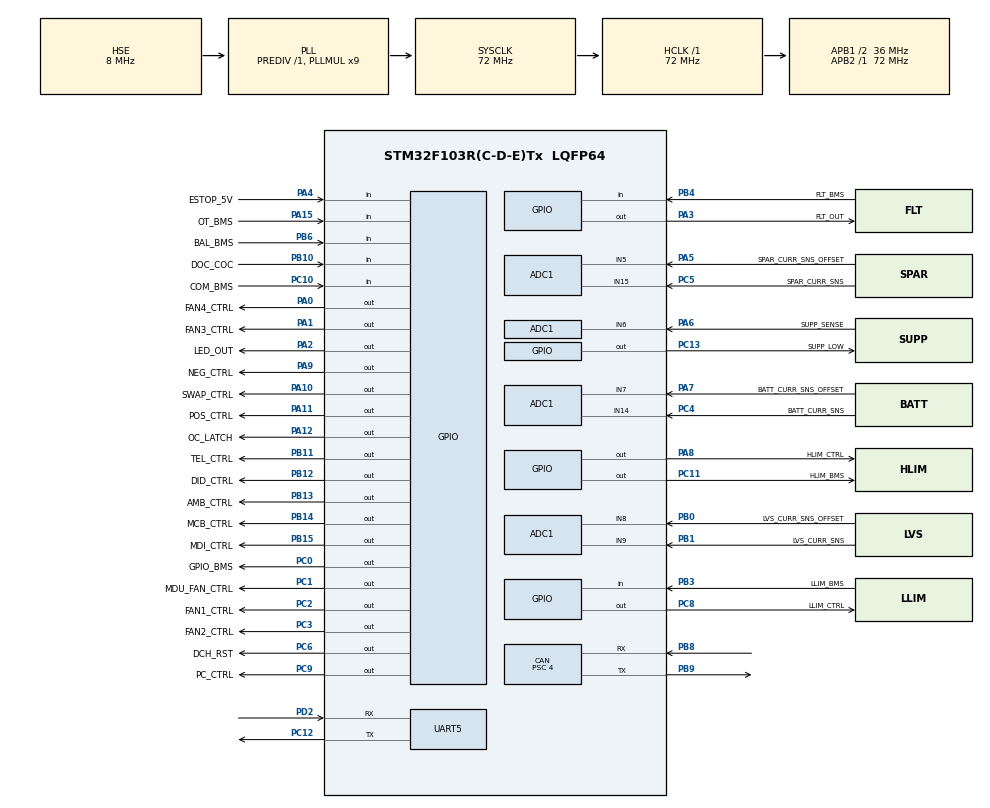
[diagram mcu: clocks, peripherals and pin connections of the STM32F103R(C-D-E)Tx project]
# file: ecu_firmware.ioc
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ADC1.AWD1HighThreshold=2710
ADC1.AWD1ITMode=ENABLE
ADC1.AWD1LowThreshold=2071
ADC1.Channel-0\#ChannelRegularConversion=ADC_CHANNEL_5
ADC1.Channel-1\#ChannelRegularConversion=ADC_CHANNEL_6
ADC1.Channel-2\#ChannelRegularConversion=ADC_CHANNEL_7
ADC1.Channel-3\#ChannelRegularConversion=ADC_CHANNEL_8
ADC1.Channel-4\#ChannelRegularConversion=ADC_CHANNEL_9
ADC1.Channel-5\#ChannelRegularConversion=ADC_CHANNEL_14
ADC1.Channel-6\#ChannelRegularConversion=ADC_CHANNEL_15
ADC1.ContinuousConvMode=DISABLE
ADC1.EnableAnalogWatchDog=true
ADC1.EnableInjectedConversion=DISABLE
ADC1.ExternalTrigConv=ADC_EXTERNALTRIGCONV_T3_TRGO
ADC1.NbrOfConversion=7
ADC1.NbrOfConversionFlag=1
ADC1.Rank-0\#ChannelRegularConversion=1
ADC1.Rank-1\#ChannelRegularConversion=2
ADC1.Rank-2\#ChannelRegularConversion=3
ADC1.Rank-3\#ChannelRegularConversion=4
ADC1.Rank-4\#ChannelRegularConversion=5
ADC1.Rank-5\#ChannelRegularConversion=6
ADC1.Rank-6\#ChannelRegularConversion=7
ADC1.SamplingTime-0\#ChannelRegularConversion=ADC_SAMPLETIME_1CYCLE_5
ADC1.SamplingTime-1\#ChannelRegularConversion=ADC_SAMPLETIME_1CYCLE_5
ADC1.SamplingTime-2\#ChannelRegularConversion=ADC_SAMPLETIME_1CYCLE_5
ADC1.SamplingTime-3\#ChannelRegularConversion=ADC_SAMPLETIME_1CYCLE_5
ADC1.SamplingTime-4\#ChannelRegularConversion=ADC_SAMPLETIME_1CYCLE_5
ADC1.SamplingTime-5\#ChannelRegularConversion=ADC_SAMPLETIME_1CYCLE_5
ADC1.SamplingTime-6\#ChannelRegularConversion=ADC_SAMPLETIME_1CYCLE_5
ADC1.WatchdogChannel=ADC_CHANNEL_14
ADC1.master=1
CAN.BS1=CAN_BS1_15TQ
CAN.BS2=CAN_BS2_2TQ
CAN.CalculateBaudRate=500000
CAN.CalculateTimeBit=2000
CAN.CalculateTimeQuantum=111.11111111111111
CAN.Prescaler=4
Dma.ADC1.0.Direction=DMA_PERIPH_TO_MEMORY
Dma.ADC1.0.Instance=DMA1_Channel1
Dma.ADC1.0.MemDataAlignment=DMA_MDATAALIGN_HALFWORD
Dma.ADC1.0.MemInc=DMA_MINC_ENABLE
Dma.ADC1.0.Mode=DMA_CIRCULAR
Dma.ADC1.0.PeriphDataAlignment=DMA_PDATAALIGN_HALFWORD
Dma.ADC1.0.PeriphInc=DMA_PINC_DISABLE
Dma.ADC1.0.Priority=DMA_PRIORITY_LOW
Dma.Request0=ADC1
IWDG.Prescaler=IWDG_PRESCALER_8
IWDG.Reload=750
Mcu.Family=STM32F1
Mcu.Name=STM32F103R(C-D-E)Tx
Mcu.Package=LQFP64
NVIC.ADC1_2_IRQn=true\:0\:0\:false\:false\:true\:true\:true\:true
NVIC.DMA1_Channel1_IRQn=true\:0\:0\:false\:false\:true\:false\:true\:true
NVIC.PriorityGroup=NVIC_PRIORITYGROUP_4
NVIC.TIM3_IRQn=true\:0\:0\:false\:false\:true\:true\:true\:true
NVIC.USB_HP_CAN1_TX_IRQn=true\:0\:0\:false\:false\:true\:true\:true\:true
NVIC.USB_LP_CAN1_RX0_IRQn=true\:0\:0\:false\:false\:true\:true\:true\:true
PA0-WKUP.GPIO_Label=FAN4_CTRL
PA0-WKUP.Signal=GPIO_Output
PA1.GPIO_Label=FAN3_CTRL
PA1.Signal=GPIO_Output
PA10.GPIO_Label=SWAP_CTRL
PA10.Signal=GPIO_Output
PA11.GPIO_Label=POS_CTRL
PA11.Signal=GPIO_Output
PA12.GPIO_Label=OC_LATCH
PA12.Signal=GPIO_Output
PA13.Mode=Serial_Wire
PA13.Signal=SYS_JTMS-SWDIO
PA14.Mode=Serial_Wire
PA14.Signal=SYS_JTCK-SWCLK
PA15.GPIO_Label=OT_BMS
PA15.Signal=GPIO_Input
PA2.GPIO_Label=LED_OUT
PA2.Signal=GPIO_Output
PA3.GPIO_Label=FLT_OUT
PA3.Signal=GPIO_Output
PA4.GPIO_Label=ESTOP_5V
PA4.Signal=GPIO_Input
PA5.GPIO_Label=SPAR_CURR_SNS_OFFSET
PA5.Signal=ADCx_IN5
PA6.GPIO_Label=SUPP_SENSE
PA6.Signal=ADCx_IN6
PA7.GPIO_Label=BATT_CURR_SNS_OFFSET
PA7.Signal=ADCx_IN7
PA8.GPIO_Label=HLIM_CTRL
PA8.Signal=GPIO_Output
PA9.GPIO_Label=NEG_CTRL
PA9.Signal=GPIO_Output
PB0.GPIO_Label=LVS_CURR_SNS_OFFSET
PB0.Signal=ADCx_IN8
PB1.GPIO_Label=LVS_CURR_SNS
PB1.Signal=ADCx_IN9
PB10.GPIO_Label=DOC_COC
PB10.Signal=GPIO_Input
PB11.GPIO_Label=TEL_CTRL
PB11.Signal=GPIO_Output
PB12.GPIO_Label=DID_CTRL
PB12.Signal=GPIO_Output
PB13.GPIO_Label=AMB_CTRL
PB13.Signal=GPIO_Output
PB14.GPIO_Label=MCB_CTRL
PB14.Signal=GPIO_Output
PB15.GPIO_Label=MDI_CTRL
PB15.Signal=GPIO_Output
PB3.GPIO_Label=LLIM_BMS
PB3.Signal=GPIO_Input
PB4.GPIO_Label=FLT_BMS
PB4.Signal=GPIO_Input
PB6.GPIO_Label=BAL_BMS
PB6.Signal=GPIO_Input
PB8.Mode=CAN_Activate
PB8.Signal=CAN_RX
PB9.Mode=CAN_Activate
PB9.Signal=CAN_TX
PC0.GPIO_Label=GPIO_BMS
PC0.Signal=GPIO_Output
PC1.GPIO_Label=MDU_FAN_CTRL
PC1.Signal=GPIO_Output
PC10.GPIO_Label=COM_BMS
PC10.Signal=GPIO_Input
PC11.GPIO_Label=HLIM_BMS
PC11.Signal=GPIO_Output
PC12.Mode=Asynchronous
PC12.Signal=UART5_TX
PC13-TAMPER-RTC.GPIO_Label=SUPP_LOW
PC13-TAMPER-RTC.Signal=GPIO_Output
PC2.GPIO_Label=FAN1_CTRL
PC2.Signal=GPIO_Output
PC3.GPIO_Label=FAN2_CTRL
PC3.Signal=GPIO_Output
PC4.GPIO_Label=BATT_CURR_SNS
PC4.Signal=ADCx_IN14
PC5.GPIO_Label=SPAR_CURR_SNS
PC5.Signal=ADCx_IN15
PC6.GPIO_Label=DCH_RST
PC6.Signal=GPIO_Output
PC8.GPIO_Label=LLIM_CTRL
PC8.Signal=GPIO_Output
PC9.GPIO_Label=PC_CTRL
PC9.Signal=GPIO_Output
PD0-OSC_IN.Mode=HSE-External-Oscillator
PD0-OSC_IN.Signal=RCC_OSC_IN
PD1-OSC_OUT.Mode=HSE-External-Oscillator
PD1-OSC_OUT.Signal=RCC_OSC_OUT
PD2.Mode=Asynchronous
PD2.Signal=UART5_RX
ProjectManager.HeapSize=0x200
ProjectManager.StackSize=0x400
ProjectManager.TargetToolchain=STM32CubeIDE
RCC.ADCPresc=RCC_ADCPCLK2_DIV6
RCC.AHBFreq_Value=72000000
RCC.APB1CLKDivider=RCC_HCLK_DIV2
RCC.APB1Freq_Value=36000000
RCC.APB1TimFreq_Value=72000000
RCC.APB2Freq_Value=72000000
RCC.APB2TimFreq_Value=72000000
RCC.HCLKFreq_Value=72000000
RCC.PLLMUL=RCC_PLL_MUL9
RCC.PLLSourceVirtual=RCC_PLLSOURCE_HSE
RCC.SYSCLKFreq_VALUE=72000000
RCC.SYSCLKSource=RCC_SYSCLKSOURCE_PLLCLK
RCC.USBFreq_Value=72000000
SH.ADCx_IN14.0=ADC1_IN14,IN14
SH.ADCx_IN15.0=ADC1_IN15,IN15
SH.ADCx_IN5.0=ADC1_IN5,IN5
SH.ADCx_IN6.0=ADC1_IN6,IN6
SH.ADCx_IN7.0=ADC1_IN7,IN7
SH.ADCx_IN8.0=ADC1_IN8,IN8
SH.ADCx_IN9.0=ADC1_IN9,IN9
TIM3.CounterMode=TIM_COUNTERMODE_UP
TIM3.Period=1
TIM3.Prescaler=16000-1
TIM3.TIM_MasterOutputTrigger=TIM_TRGO_UPDATE
UART5.VirtualMode=Asynchronous
VP_IWDG_VS_IWDG.Mode=IWDG_Activate
VP_TIM3_VS_ClockSourceINT.Mode=Internal
VP_TIM8_VS_ClockSourceINT.Mode=Internal
board=custom

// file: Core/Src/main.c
/* USER CODE BEGIN Header */
/**
 ******************************************************************************
 * @file           : main.c
 * @brief          : Main program body
 ******************************************************************************
 * @attention
 *
 * <h2><center>&copy; Copyright (c) 2020 STMicroelectronics.
 * All rights reserved.</center></h2>
 *
 * This software component is licensed by ST under BSD 3-Clause license,
 * the "License"; You may not use this file except in compliance with the
 * License. You may obtain a copy of the License at:
 *                        opensource.org/licenses/BSD-3-Clause
 *
 ******************************************************************************
 */
/* USER CODE END Header */
#include "main.h"

/* USER CODE BEGIN Includes */
#include "fsm.h"
#include "adc.h"
#include "debug_io.h"
#include "common.h"
#include "can.h"
/* USER CODE END Includes */

ADC_HandleTypeDef hadc1;
DMA_HandleTypeDef hdma_adc1;
CAN_HandleTypeDef hcan;
IWDG_HandleTypeDef hiwdg;
TIM_HandleTypeDef htim3;
TIM_HandleTypeDef htim8;

UART_HandleTypeDef huart5;

/* USER CODE BEGIN PV */
volatile uint16_t adc1_buf[ADC1_BUF_LENGTH] = {0};
ECU_Data_t ecu_data = {0};
/* USER CODE END PV */

void SystemClock_Config(void);
static void MX_GPIO_Init(void);
static void MX_DMA_Init(void);
static void MX_ADC1_Init(void);
static void MX_CAN_Init(void);
static void MX_UART5_Init(void);
static void MX_TIM8_Init(void);
static void MX_TIM3_Init(void);
static void MX_IWDG_Init(void);

/* USER CODE BEGIN 0 */

/*============================================================================*/
/* ADC INTERRUPT CALLBACKS */
void HAL_ADC_LevelOutOfWindowCallback(ADC_HandleTypeDef *hadc)
{
  FSM_ADC_LevelOutOfWindowCallback();
}

/* USER CODE END 0 */

int main(void)
{

  /* MCU Configuration--------------------------------------------------------*/

  /* Reset of all peripherals, Initializes the Flash interface and the Systick. */
  HAL_Init();

  /* Configure the system clock */
  SystemClock_Config();

  /* USER CODE BEGIN SysInit */

  HAL_Delay(100); // add delay to allow current sensor power supply to stabilize

  /* USER CODE END SysInit */

  /* Initialize all configured peripherals */
  MX_GPIO_Init();
  MX_DMA_Init();
  MX_ADC1_Init();
  MX_CAN_Init();
  MX_UART5_Init();
  MX_TIM8_Init();
  MX_TIM3_Init();
  MX_IWDG_Init();
  /* USER CODE BEGIN 2 */

  DebugIO_Init(&huart5);

  CAN_Init(&hcan);

  HAL_ADC_Start_DMA(&hadc1, (uint32_t *)adc1_buf, ADC1_BUF_LENGTH);
  HAL_TIM_Base_Start(&htim3);

  FSM_Init();

  HAL_GetTick();
  int last_blink_time = 0;
  int current_time = 0;

  /* USER CODE END 2 */

  /* Infinite loop */
  /* USER CODE BEGIN WHILE */

  while (1)
  {

    FSM_run();

    HAL_IWDG_Refresh (&hiwdg);//Programmed in IOC to have refreshed in 450ms due to possible CAN message delays.
	  	  	  	  	  	  	  	 //if not refreshed, board will be sent to watchdog error handler and board will be reset.

    /* USER CODE END WHILE */

    /* USER CODE BEGIN 3 */

    current_time = HAL_GetTick();

    if (current_time - last_blink_time >= 500)
    {
      HAL_GPIO_TogglePin(LED_OUT_GPIO_Port, LED_OUT_Pin);

      last_blink_time = current_time;
    }
  }

  /* USER CODE END 3 */
}

void SystemClock_Config(void)
{
  RCC_OscInitTypeDef RCC_OscInitStruct = {0};
  RCC_ClkInitTypeDef RCC_ClkInitStruct = {0};
  RCC_PeriphCLKInitTypeDef PeriphClkInit = {0};

  /** Initializes the RCC Oscillators according to the specified parameters
  * in the RCC_OscInitTypeDef structure.
  */
  RCC_OscInitStruct.OscillatorType = RCC_OSCILLATORTYPE_LSI|RCC_OSCILLATORTYPE_HSE;
  RCC_OscInitStruct.HSEState = RCC_HSE_ON;
  RCC_OscInitStruct.HSEPredivValue = RCC_HSE_PREDIV_DIV1;
  RCC_OscInitStruct.HSIState = RCC_HSI_ON;
  RCC_OscInitStruct.LSIState = RCC_LSI_ON;
  RCC_OscInitStruct.PLL.PLLState = RCC_PLL_ON;
  RCC_OscInitStruct.PLL.PLLSource = RCC_PLLSOURCE_HSE;
  RCC_OscInitStruct.PLL.PLLMUL = RCC_PLL_MUL9;
  if (HAL_RCC_OscConfig(&RCC_OscInitStruct) != HAL_OK)
  {
    Error_Handler();
  }

  /** Initializes the CPU, AHB and APB buses clocks
  */
  RCC_ClkInitStruct.ClockType = RCC_CLOCKTYPE_HCLK|RCC_CLOCKTYPE_SYSCLK
                              |RCC_CLOCKTYPE_PCLK1|RCC_CLOCKTYPE_PCLK2;
  RCC_ClkInitStruct.SYSCLKSource = RCC_SYSCLKSOURCE_PLLCLK;
  RCC_ClkInitStruct.AHBCLKDivider = RCC_SYSCLK_DIV1;
  RCC_ClkInitStruct.APB1CLKDivider = RCC_HCLK_DIV2;
  RCC_ClkInitStruct.APB2CLKDivider = RCC_HCLK_DIV1;

  if (HAL_RCC_ClockConfig(&RCC_ClkInitStruct, FLASH_LATENCY_2) != HAL_OK)
  {
    Error_Handler();
  }
  PeriphClkInit.PeriphClockSelection = RCC_PERIPHCLK_ADC;
  PeriphClkInit.AdcClockSelection = RCC_ADCPCLK2_DIV6;
  if (HAL_RCCEx_PeriphCLKConfig(&PeriphClkInit) != HAL_OK)
  {
    Error_Handler();
  }
}

static void MX_ADC1_Init(void)
{

  ADC_AnalogWDGConfTypeDef AnalogWDGConfig = {0};
  ADC_ChannelConfTypeDef sConfig = {0};

  /** Common config
  */
  hadc1.Instance = ADC1;
  hadc1.Init.ScanConvMode = ADC_SCAN_ENABLE;
  hadc1.Init.ContinuousConvMode = DISABLE;
  hadc1.Init.DiscontinuousConvMode = DISABLE;
  hadc1.Init.ExternalTrigConv = ADC_EXTERNALTRIGCONV_T3_TRGO;
  hadc1.Init.DataAlign = ADC_DATAALIGN_RIGHT;
  hadc1.Init.NbrOfConversion = 7;
  if (HAL_ADC_Init(&hadc1) != HAL_OK)
  {
    Error_Handler();
  }

  /** Configure Analog WatchDog 1
  */
  AnalogWDGConfig.WatchdogMode = ADC_ANALOGWATCHDOG_SINGLE_REG;
  AnalogWDGConfig.HighThreshold = 2710;
  AnalogWDGConfig.LowThreshold = 2071;
  AnalogWDGConfig.Channel = ADC_CHANNEL_14;
  AnalogWDGConfig.ITMode = ENABLE;
  if (HAL_ADC_AnalogWDGConfig(&hadc1, &AnalogWDGConfig) != HAL_OK)
  {
    Error_Handler();
  }

  /** Configure Regular Channel
  */
  sConfig.Channel = ADC_CHANNEL_5;
  sConfig.Rank = ADC_REGULAR_RANK_1;
  sConfig.SamplingTime = ADC_SAMPLETIME_1CYCLE_5;
  if (HAL_ADC_ConfigChannel(&hadc1, &sConfig) != HAL_OK)
  {
    Error_Handler();
  }

  /** Configure Regular Channel
  */
  sConfig.Channel = ADC_CHANNEL_6;
  sConfig.Rank = ADC_REGULAR_RANK_2;
  if (HAL_ADC_ConfigChannel(&hadc1, &sConfig) != HAL_OK)
  {
    Error_Handler();
  }

  /** Configure Regular Channel
  */
  sConfig.Channel = ADC_CHANNEL_7;
  sConfig.Rank = ADC_REGULAR_RANK_3;
  if (HAL_ADC_ConfigChannel(&hadc1, &sConfig) != HAL_OK)
  {
    Error_Handler();
  }

  /** Configure Regular Channel
  */
  sConfig.Channel = ADC_CHANNEL_8;
  sConfig.Rank = ADC_REGULAR_RANK_4;
  if (HAL_ADC_ConfigChannel(&hadc1, &sConfig) != HAL_OK)
  {
    Error_Handler();
  }

  /** Configure Regular Channel
  */
  sConfig.Channel = ADC_CHANNEL_9;
  sConfig.Rank = ADC_REGULAR_RANK_5;
  if (HAL_ADC_ConfigChannel(&hadc1, &sConfig) != HAL_OK)
  {
    Error_Handler();
  }

  /** Configure Regular Channel
  */
  sConfig.Channel = ADC_CHANNEL_14;
  sConfig.Rank = ADC_REGULAR_RANK_6;
  if (HAL_ADC_ConfigChannel(&hadc1, &sConfig) != HAL_OK)
  {
    Error_Handler();
  }

  /** Configure Regular Channel
  */
  sConfig.Channel = ADC_CHANNEL_15;
  sConfig.Rank = ADC_REGULAR_RANK_7;
  if (HAL_ADC_ConfigChannel(&hadc1, &sConfig) != HAL_OK)
  {
    Error_Handler();
  }

}

static void MX_CAN_Init(void)
{

  hcan.Instance = CAN1;
  hcan.Init.Prescaler = 4;
  hcan.Init.Mode = CAN_MODE_NORMAL;
  hcan.Init.SyncJumpWidth = CAN_SJW_1TQ;
  hcan.Init.TimeSeg1 = CAN_BS1_15TQ;
  hcan.Init.TimeSeg2 = CAN_BS2_2TQ;
  hcan.Init.TimeTriggeredMode = DISABLE;
  hcan.Init.AutoBusOff = DISABLE;
  hcan.Init.AutoWakeUp = DISABLE;
  hcan.Init.AutoRetransmission = DISABLE;
  hcan.Init.ReceiveFifoLocked = DISABLE;
  hcan.Init.TransmitFifoPriority = DISABLE;
  if (HAL_CAN_Init(&hcan) != HAL_OK)
  {
    Error_Handler();
  }

}

static void MX_IWDG_Init(void)
{

  hiwdg.Instance = IWDG;
  hiwdg.Init.Prescaler = IWDG_PRESCALER_8;
  hiwdg.Init.Reload = 750;
  if (HAL_IWDG_Init(&hiwdg) != HAL_OK)
  {
    Error_Handler();
  }

}

static void MX_TIM3_Init(void)
{

  TIM_ClockConfigTypeDef sClockSourceConfig = {0};
  TIM_MasterConfigTypeDef sMasterConfig = {0};

  htim3.Instance = TIM3;
  htim3.Init.Prescaler = 16000-1;
  htim3.Init.CounterMode = TIM_COUNTERMODE_UP;
  htim3.Init.Period = 1;
  htim3.Init.ClockDivision = TIM_CLOCKDIVISION_DIV1;
  htim3.Init.AutoReloadPreload = TIM_AUTORELOAD_PRELOAD_DISABLE;
  if (HAL_TIM_Base_Init(&htim3) != HAL_OK)
  {
    Error_Handler();
  }
  sClockSourceConfig.ClockSource = TIM_CLOCKSOURCE_INTERNAL;
  if (HAL_TIM_ConfigClockSource(&htim3, &sClockSourceConfig) != HAL_OK)
  {
    Error_Handler();
  }
  sMasterConfig.MasterOutputTrigger = TIM_TRGO_UPDATE;
  sMasterConfig.MasterSlaveMode = TIM_MASTERSLAVEMODE_DISABLE;
  if (HAL_TIMEx_MasterConfigSynchronization(&htim3, &sMasterConfig) != HAL_OK)
  {
    Error_Handler();
  }

}

static void MX_TIM8_Init(void)
{

  TIM_ClockConfigTypeDef sClockSourceConfig = {0};
  TIM_MasterConfigTypeDef sMasterConfig = {0};

  htim8.Instance = TIM8;
  htim8.Init.Prescaler = 0;
  htim8.Init.CounterMode = TIM_COUNTERMODE_UP;
  htim8.Init.Period = 65535;
  htim8.Init.ClockDivision = TIM_CLOCKDIVISION_DIV1;
  htim8.Init.RepetitionCounter = 0;
  htim8.Init.AutoReloadPreload = TIM_AUTORELOAD_PRELOAD_DISABLE;
  if (HAL_TIM_Base_Init(&htim8) != HAL_OK)
  {
    Error_Handler();
  }
  sClockSourceConfig.ClockSource = TIM_CLOCKSOURCE_INTERNAL;
  if (HAL_TIM_ConfigClockSource(&htim8, &sClockSourceConfig) != HAL_OK)
  {
    Error_Handler();
  }
  sMasterConfig.MasterOutputTrigger = TIM_TRGO_RESET;
  sMasterConfig.MasterSlaveMode = TIM_MASTERSLAVEMODE_DISABLE;
  if (HAL_TIMEx_MasterConfigSynchronization(&htim8, &sMasterConfig) != HAL_OK)
  {
    Error_Handler();
  }

}

static void MX_UART5_Init(void)
{

  huart5.Instance = UART5;
  huart5.Init.BaudRate = 115200;
  huart5.Init.WordLength = UART_WORDLENGTH_8B;
  huart5.Init.StopBits = UART_STOPBITS_1;
  huart5.Init.Parity = UART_PARITY_NONE;
  huart5.Init.Mode = UART_MODE_TX_RX;
  huart5.Init.HwFlowCtl = UART_HWCONTROL_NONE;
  huart5.Init.OverSampling = UART_OVERSAMPLING_16;
  if (HAL_UART_Init(&huart5) != HAL_OK)
  {
    Error_Handler();
  }

}

static void MX_DMA_Init(void)
{

  /* DMA controller clock enable */
  __HAL_RCC_DMA1_CLK_ENABLE();

  /* DMA interrupt init */
  /* DMA1_Channel1_IRQn interrupt configuration */
  HAL_NVIC_SetPriority(DMA1_Channel1_IRQn, 0, 0);
  HAL_NVIC_EnableIRQ(DMA1_Channel1_IRQn);

}

static void MX_GPIO_Init(void)
{
  GPIO_InitTypeDef GPIO_InitStruct = {0};

  /* GPIO Ports Clock Enable */
  __HAL_RCC_GPIOC_CLK_ENABLE();
  __HAL_RCC_GPIOD_CLK_ENABLE();
  __HAL_RCC_GPIOA_CLK_ENABLE();
  __HAL_RCC_GPIOB_CLK_ENABLE();

  /*Configure GPIO pin Output Level */
  HAL_GPIO_WritePin(GPIOC, SUPP_LOW_Pin|GPIO_BMS_Pin|MDU_FAN_CTRL_Pin|FAN1_CTRL_Pin
                          |FAN2_CTRL_Pin|DCH_RST_Pin|LLIM_CTRL_Pin|PC_CTRL_Pin
                          |HLIM_BMS_Pin, GPIO_PIN_RESET);

  /*Configure GPIO pin Output Level */
  HAL_GPIO_WritePin(GPIOA, FAN4_CTRL_Pin|FAN3_CTRL_Pin|LED_OUT_Pin|FLT_OUT_Pin
                          |HLIM_CTRL_Pin|NEG_CTRL_Pin|SWAP_CTRL_Pin|POS_CTRL_Pin
                          |OC_LATCH_Pin, GPIO_PIN_RESET);

  /*Configure GPIO pin Output Level */
  HAL_GPIO_WritePin(GPIOB, TEL_CTRL_Pin|DID_CTRL_Pin|AMB_CTRL_Pin|MCB_CTRL_Pin
                          |MDI_CTRL_Pin, GPIO_PIN_RESET);

  /*Configure GPIO pins : SUPP_LOW_Pin GPIO_BMS_Pin MDU_FAN_CTRL_Pin FAN1_CTRL_Pin
                           FAN2_CTRL_Pin DCH_RST_Pin LLIM_CTRL_Pin PC_CTRL_Pin
                           HLIM_BMS_Pin */
  GPIO_InitStruct.Pin = SUPP_LOW_Pin|GPIO_BMS_Pin|MDU_FAN_CTRL_Pin|FAN1_CTRL_Pin
                          |FAN2_CTRL_Pin|DCH_RST_Pin|LLIM_CTRL_Pin|PC_CTRL_Pin
                          |HLIM_BMS_Pin;
  GPIO_InitStruct.Mode = GPIO_MODE_OUTPUT_PP;
  GPIO_InitStruct.Pull = GPIO_NOPULL;
  GPIO_InitStruct.Speed = GPIO_SPEED_FREQ_LOW;
  HAL_GPIO_Init(GPIOC, &GPIO_InitStruct);

  /*Configure GPIO pins : FAN4_CTRL_Pin FAN3_CTRL_Pin LED_OUT_Pin FLT_OUT_Pin
                           HLIM_CTRL_Pin NEG_CTRL_Pin SWAP_CTRL_Pin POS_CTRL_Pin
                           OC_LATCH_Pin */
  GPIO_InitStruct.Pin = FAN4_CTRL_Pin|FAN3_CTRL_Pin|LED_OUT_Pin|FLT_OUT_Pin
                          |HLIM_CTRL_Pin|NEG_CTRL_Pin|SWAP_CTRL_Pin|POS_CTRL_Pin
                          |OC_LATCH_Pin;
  GPIO_InitStruct.Mode = GPIO_MODE_OUTPUT_PP;
  GPIO_InitStruct.Pull = GPIO_NOPULL;
  GPIO_InitStruct.Speed = GPIO_SPEED_FREQ_LOW;
  HAL_GPIO_Init(GPIOA, &GPIO_InitStruct);

  /*Configure GPIO pins : ESTOP_5V_Pin OT_BMS_Pin */
  GPIO_InitStruct.Pin = ESTOP_5V_Pin|OT_BMS_Pin;
  GPIO_InitStruct.Mode = GPIO_MODE_INPUT;
  GPIO_InitStruct.Pull = GPIO_NOPULL;
  HAL_GPIO_Init(GPIOA, &GPIO_InitStruct);

  /*Configure GPIO pins : DOC_COC_Pin LLIM_BMS_Pin FLT_BMS_Pin BAL_BMS_Pin */
  GPIO_InitStruct.Pin = DOC_COC_Pin|LLIM_BMS_Pin|FLT_BMS_Pin|BAL_BMS_Pin;
  GPIO_InitStruct.Mode = GPIO_MODE_INPUT;
  GPIO_InitStruct.Pull = GPIO_NOPULL;
  HAL_GPIO_Init(GPIOB, &GPIO_InitStruct);

  /*Configure GPIO pins : TEL_CTRL_Pin DID_CTRL_Pin AMB_CTRL_Pin MCB_CTRL_Pin
                           MDI_CTRL_Pin */
  GPIO_InitStruct.Pin = TEL_CTRL_Pin|DID_CTRL_Pin|AMB_CTRL_Pin|MCB_CTRL_Pin
                          |MDI_CTRL_Pin;
  GPIO_InitStruct.Mode = GPIO_MODE_OUTPUT_PP;
  GPIO_InitStruct.Pull = GPIO_NOPULL;
  GPIO_InitStruct.Speed = GPIO_SPEED_FREQ_LOW;
  HAL_GPIO_Init(GPIOB, &GPIO_InitStruct);

  /*Configure GPIO pin : COM_BMS_Pin */
  GPIO_InitStruct.Pin = COM_BMS_Pin;
  GPIO_InitStruct.Mode = GPIO_MODE_INPUT;
  GPIO_InitStruct.Pull = GPIO_NOPULL;
  HAL_GPIO_Init(COM_BMS_GPIO_Port, &GPIO_InitStruct);

}

/* USER CODE BEGIN 4 */

void HAL_ADC_ConvHalfCpltCallback(ADC_HandleTypeDef *hadc)
{
  if (hadc == &hadc1)
    averageAndSaveValues_ADC1(0);
}

// Conversion full complete DMA interrupt callback for ADCs
void HAL_ADC_ConvCpltCallback(ADC_HandleTypeDef *hadc)
{
  if (hadc == &hadc1)
    averageAndSaveValues_ADC1(1);
}

void averageAndSaveValues_ADC1(int adc_half)
{
  if (!ADC1_getBusyStatus())
  {
    ADC1_setBusyStatus(1);
    static float result[ADC1_NUM_ANALOG_CHANNELS];

    ADC1_processRawReadings(adc_half, adc1_buf, result);

    ADC_setReading(result[0], SPAR_CURR_SNS_OFFSET__ADC1_IN5);
    ADC_setReading(result[1], SUPP_SENSE__ADC1_IN6);
    ADC_setReading(result[2], BATT_CURR_SNS_OFFSET__ADC1_IN7);
    ADC_setReading(result[3], LVS_CURR_SNS_OFFSET__ADC1_IN8);
    ADC_setReading(result[4], LVS_CURR_SNS__ADC1_IN9);
    ADC_setReading(result[5], BATT_CURR_SNS__ADC1_IN14);
    ADC_setReading(result[6], SPAR_CURR_SNS__ADC1_IN15);

    ADC1_setBusyStatus(0);
  }
  else
  {
    ADC1_setFaultStatus(1);
  }
}

/* USER CODE END 4 */

void Error_Handler(void)
{
  __disable_irq();
  while (1)
  {
  }
}
